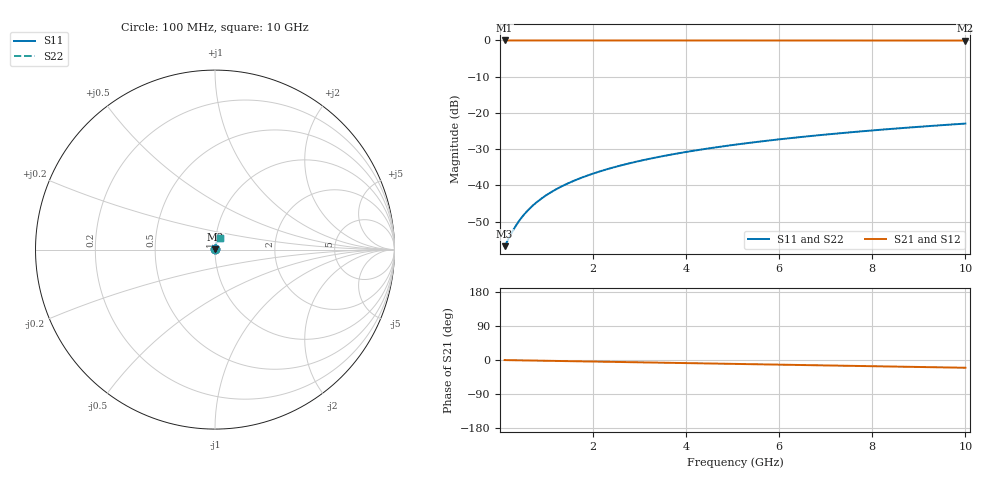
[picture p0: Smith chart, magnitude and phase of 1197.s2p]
# Hz S RI R 50.00
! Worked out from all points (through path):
!   100 points, 100 MHz to 10 GHz, reference 50 ohm
!   highest |S21| = -0.01 dB at 100 MHz (marker M1); lowest = 0.0 dB at 10 GHz (marker M2)
!   group delay of S21, straight-line fit = 5.69 ps
!   lowest |S11| = -56.8 dB at 100 MHz (marker M3), VSWR 1.00, Z = 50.1 + j0.0723 ohm
!   |S11| at or under -10 dB: start of sweep to end of sweep
!   |S22| runs from -56.8 to -22.9 dB; largest |S21 - S12| = 0
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1e8  0.00126 0.000721  0.9987 -0.00355  0.9987 -0.00355  0.00126 0.000721
3e8  0.00129 0.00216  0.9987 -0.0107  0.9987 -0.0107  0.00129 0.00216
4e8  0.00131 0.00288  0.9986 -0.0142  0.9986 -0.0142  0.00131 0.00288
5e8  0.00134 0.0036  0.9985 -0.0178  0.9985 -0.0178  0.00134 0.0036
6e8  0.00137 0.00432  0.9985 -0.0213  0.9985 -0.0213  0.00137 0.00432
7e8  0.00141 0.00504  0.9984 -0.0249  0.9984 -0.0249  0.00141 0.00504
8e8  0.00145 0.00576  0.9983 -0.0284  0.9983 -0.0284  0.00145 0.00576
9e8  0.00149 0.00648  0.9982 -0.032  0.9982 -0.032  0.00149 0.00648
1e9  0.00154 0.0072  0.998 -0.0355  0.998 -0.0355  0.00154 0.0072
1.2e9  0.00166 0.00864  0.9977 -0.0426  0.9977 -0.0426  0.00166 0.00864
1.5e9  0.00187 0.0108  0.9972 -0.0532  0.9972 -0.0532  0.00187 0.0108
1.8e9  0.00213 0.0129  0.9965 -0.0639  0.9965 -0.0639  0.00213 0.0129
2.1e9  0.00243 0.0151  0.9957 -0.0745  0.9957 -0.0745  0.00243 0.0151
2.5e9  0.0029 0.0179  0.9945 -0.0887  0.9945 -0.0887  0.0029 0.0179
2.9e9  0.00345 0.0207  0.9931 -0.1029  0.9931 -0.1029  0.00345 0.0207
3.4e9  0.00426 0.0242  0.991 -0.1205  0.991 -0.1205  0.00426 0.0242
4.2e9  0.0058 0.0298  0.987 -0.1487  0.987 -0.1487  0.0058 0.0298
5.1e9  0.00792 0.0359  0.9815 -0.1803  0.9815 -0.1803  0.00792 0.0359
5.9e9  0.0101 0.0413  0.9757 -0.2083  0.9757 -0.2083  0.0101 0.0413
6.7e9  0.0126 0.0465  0.969 -0.2361  0.969 -0.2361  0.0126 0.0465
8.4e9  0.019 0.057  0.9522 -0.2945  0.9522 -0.2945  0.019 0.057
1e10  0.0261 0.0663  0.9329 -0.3485  0.9329 -0.3485  0.0261 0.0663
